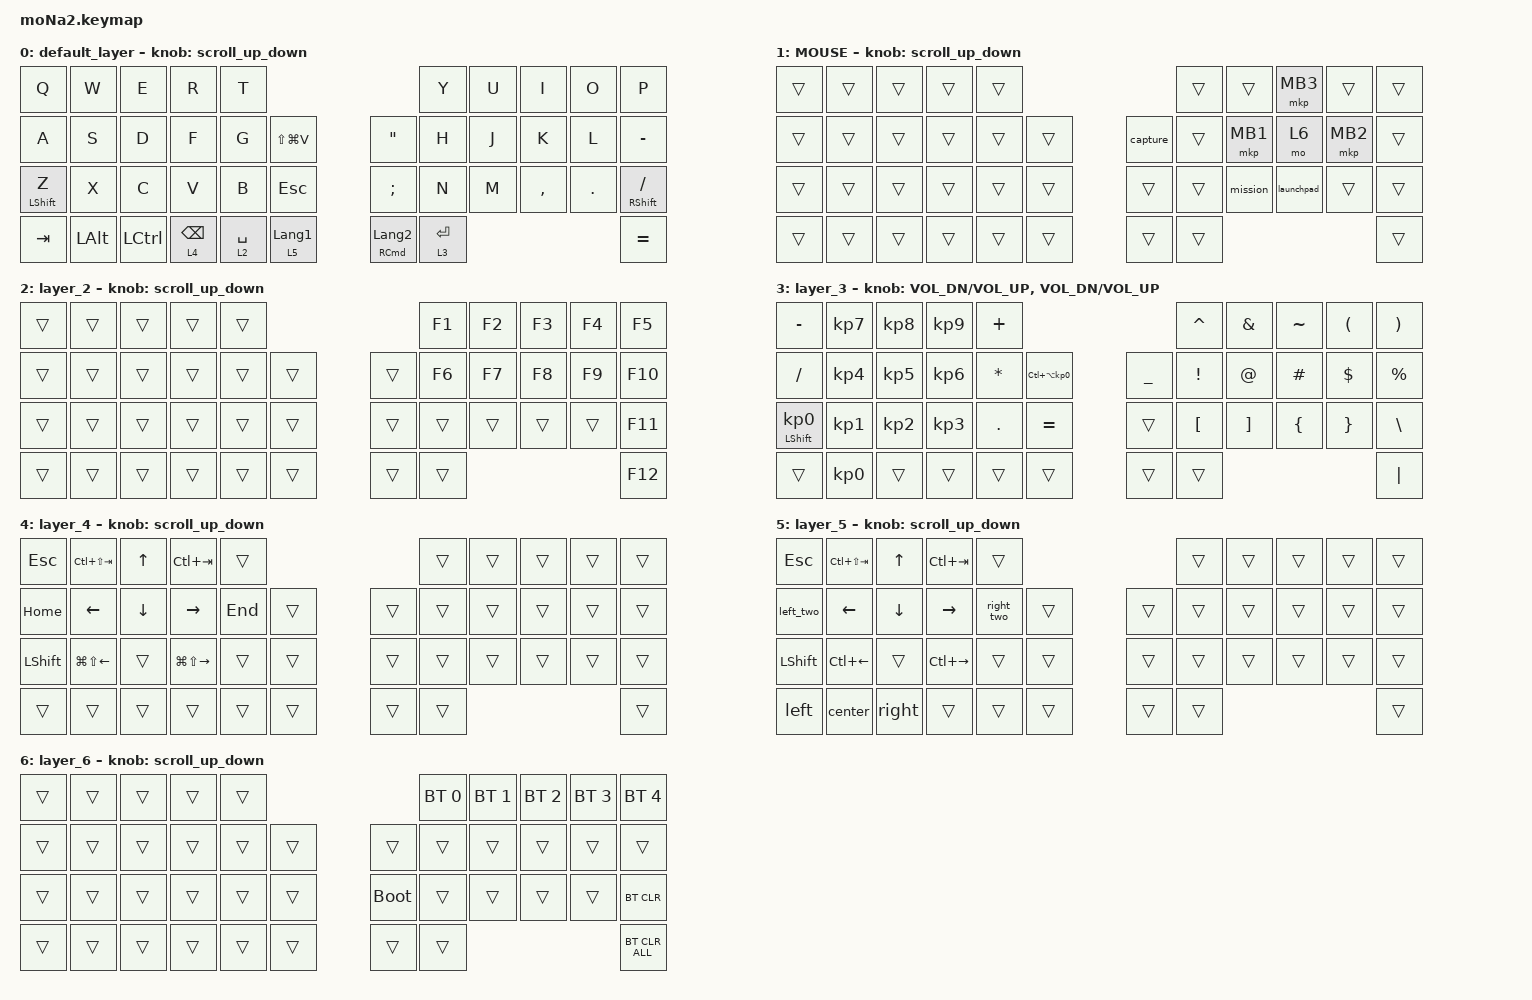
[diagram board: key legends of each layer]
#include <behaviors.dtsi>
#include <dt-bindings/zmk/bt.h>
#include <dt-bindings/zmk/keys.h>
#include <dt-bindings/zmk/pointing.h>

#define ZMK_POINTING_DEFAULT_SCRL_VAL 100
#define MOUSE 1

&mt {
    flavor = "balanced";
    quick-tap-ms = <0>;
};

/ {
    combos {
        compatible = "zmk,combos";

        esc {
            bindings = <&kp ESCAPE>;
            key-positions = <0 1>;
        };
    };

    macros {
        to_layer_0: to_layer_0 {
            compatible = "zmk,behavior-macro-one-param";
            #binding-cells = <1>;
            bindings = <&to 0 &macro_param_1to1 &kp MACRO_PLACEHOLDER>;
            label = "TO_LAYER_0";
        };

        mission: mission {
            compatible = "zmk,behavior-macro";
            #binding-cells = <0>;
            bindings = <&macro_tap>, <&kp LC(UP)>;

            label = "MISSION";
        };

        launchpad: launchpad {
            compatible = "zmk,behavior-macro";
            #binding-cells = <0>;
            bindings = <&macro_tap>, <&kp LG(LA(L))>;

            label = "LAUNCHPAD";
        };

        capture: capture {
            compatible = "zmk,behavior-macro";
            #binding-cells = <0>;
            bindings = <&macro_tap>, <&kp LG(LS(N5))>;

            label = "CAPTURE";
        };

        left: left {
            compatible = "zmk,behavior-macro";
            #binding-cells = <0>;
            bindings = <&macro_tap>, <&kp LA(LC(D))>;

            label = "LEFT";
        };

        center: center {
            compatible = "zmk,behavior-macro";
            #binding-cells = <0>;
            bindings = <&macro_tap>, <&kp LA(LC(F))>;

            label = "CENTER";
        };

        right: right {
            compatible = "zmk,behavior-macro";
            #binding-cells = <0>;
            bindings = <&macro_tap>, <&kp LA(LC(G))>;

            label = "RIGHT";
        };

        left_two: left_two {
            compatible = "zmk,behavior-macro";
            #binding-cells = <0>;
            bindings = <&macro_tap>, <&kp LA(LC(E))>;

            label = "LEFT_TWO";
        };

        right_two: right_two {
            compatible = "zmk,behavior-macro";
            #binding-cells = <0>;
            bindings = <&macro_tap>, <&kp LA(LC(T))>;

            label = "RIGHT_TWO";
        };
    };

    behaviors {
        lt_to_layer_0: lt_to_layer_0 {
            compatible = "zmk,behavior-hold-tap";
            label = "LAYER_TAP_TO_0";
            bindings = <&mo>, <&to_layer_0>;

            #binding-cells = <2>;
            tapping-term-ms = <200>;
        };

        scroll_up_down: behavior_sensor_rotate_mouse_wheel_up_down {
            compatible = "zmk,behavior-sensor-rotate";
            #sensor-binding-cells = <0>;
            bindings = <&msc SCRL_UP>, <&msc SCRL_DOWN>;

            // 追加: スクロールのタップ時間を設定 (20ms)

            tap-ms = <20>;
        };
    };

    keymap {
        compatible = "zmk,keymap";

        default_layer {
            bindings = <
&kp Q             &kp W         &kp E      &kp R                       &kp T                                                                     &kp Y        &kp U  &kp I      &kp O    &kp P
&kp A             &kp S         &kp D      &kp F                       &kp G        &kp LS(LG(V))                  &kp DOUBLE_QUOTES             &kp H        &kp J  &kp K      &kp L    &kp MINUS
&mt LEFT_SHIFT Z  &kp X         &kp C      &kp V                       &kp B        &kp ESC                        &kp SEMICOLON                 &kp N        &kp M  &kp COMMA  &kp DOT  &mt RIGHT_SHIFT SLASH
&kp TAB           &kp LEFT_ALT  &kp LCTRL  &lt_to_layer_0 4 BACKSPACE  &lt 2 SPACE  &lt_to_layer_0 5 LANGUAGE_1    &mt RIGHT_COMMAND LANGUAGE_2  &lt 3 ENTER                             &kp EQUAL
            >;

            sensor-bindings = <&scroll_up_down>;
        };

        MOUSE {
            bindings = <
&trans  &trans  &trans  &trans  &trans                      &trans  &trans    &mkp MB3    &trans    &trans
&trans  &trans  &trans  &trans  &trans  &trans    &capture  &trans  &mkp MB1  &mo 6       &mkp MB2  &trans
&trans  &trans  &trans  &trans  &trans  &trans    &trans    &trans  &mission  &launchpad  &trans    &trans
&trans  &trans  &trans  &trans  &trans  &trans    &trans    &trans                                  &trans
            >;

            sensor-bindings = <&scroll_up_down>;
        };

        layer_2 {
            bindings = <
&trans  &trans  &trans  &trans  &trans                    &kp F1  &kp F2  &kp F3  &kp F4  &kp F5
&trans  &trans  &trans  &trans  &trans  &trans    &trans  &kp F6  &kp F7  &kp F8  &kp F9  &kp F10
&trans  &trans  &trans  &trans  &trans  &trans    &trans  &trans  &trans  &trans  &trans  &kp F11
&trans  &trans  &trans  &trans  &trans  &trans    &trans  &trans                          &kp F12
            >;

            sensor-bindings = <&scroll_up_down>;
        };

        layer_3 {
            bindings = <
&kp MINUS                   &kp KP_NUMBER_7  &kp KP_NUMBER_8  &kp KP_NUMBER_9  &kp PLUS                                                 &kp CARET         &kp AMPERSAND      &kp TILDE       &kp LEFT_PARENTHESIS  &kp RIGHT_PARENTHESIS
&kp SLASH                   &kp KP_NUMBER_4  &kp KP_NUMBER_5  &kp KP_NUMBER_6  &kp ASTERISK  &kp LC(LA(KP_NUMBER_0))    &kp UNDERSCORE  &kp EXCLAMATION   &kp AT_SIGN        &kp HASH        &kp DOLLAR            &kp PERCENT
&mt LEFT_SHIFT KP_NUMBER_0  &kp KP_NUMBER_1  &kp KP_NUMBER_2  &kp KP_NUMBER_3  &kp PERIOD    &kp EQUAL                  &trans          &kp LEFT_BRACKET  &kp RIGHT_BRACKET  &kp LEFT_BRACE  &kp RIGHT_BRACE       &kp BACKSLASH
&trans                      &kp KP_NUMBER_0  &trans           &trans           &trans        &trans                     &trans          &trans                                                                     &kp PIPE
            >;

            sensor-bindings = <&inc_dec_kp C_VOL_DN C_VOL_UP &inc_dec_kp C_VOL_DN C_VOL_UP>;
        };

        layer_4 {
            bindings = <
&kp ESCAPE      &kp LC(LS(TAB))         &kp UP_ARROW    &kp LC(TAB)              &trans                     &trans  &trans  &trans  &trans  &trans
&kp HOME        &kp LEFT_ARROW          &kp DOWN_ARROW  &kp RIGHT_ARROW          &kp END  &trans    &trans  &trans  &trans  &trans  &trans  &trans
&kp LEFT_SHIFT  &kp LG(LS(LEFT_ARROW))  &trans          &kp LG(LS(RIGHT_ARROW))  &trans   &trans    &trans  &trans  &trans  &trans  &trans  &trans
&trans          &trans                  &trans          &trans                   &trans   &trans    &trans  &trans                          &trans
            >;

            sensor-bindings = <&scroll_up_down>;
        };

        layer_5 {
            bindings = <
&kp ESCAPE      &kp LC(LS(TAB))     &kp UP_ARROW    &kp LC(TAB)          &trans                        &trans  &trans  &trans  &trans  &trans
&left_two       &kp LEFT_ARROW      &kp DOWN_ARROW  &kp RIGHT_ARROW      &right_two  &trans    &trans  &trans  &trans  &trans  &trans  &trans
&kp LEFT_SHIFT  &kp LC(LEFT_ARROW)  &trans          &kp LC(RIGHT_ARROW)  &trans      &trans    &trans  &trans  &trans  &trans  &trans  &trans
&left           &center             &right          &trans               &trans      &trans    &trans  &trans                          &trans
            >;

            sensor-bindings = <&scroll_up_down>;
        };

        layer_6 {
            bindings = <
&trans  &trans  &trans  &trans  &trans                         &bt BT_SEL 0  &bt BT_SEL 1  &bt BT_SEL 2  &bt BT_SEL 3  &bt BT_SEL 4
&trans  &trans  &trans  &trans  &trans  &trans    &trans       &trans        &trans        &trans        &trans        &trans
&trans  &trans  &trans  &trans  &trans  &trans    &bootloader  &trans        &trans        &trans        &trans        &bt BT_CLR
&trans  &trans  &trans  &trans  &trans  &trans    &trans       &trans                                                  &bt BT_CLR_ALL
            >;

            sensor-bindings = <&scroll_up_down>;
        };
    };
};
